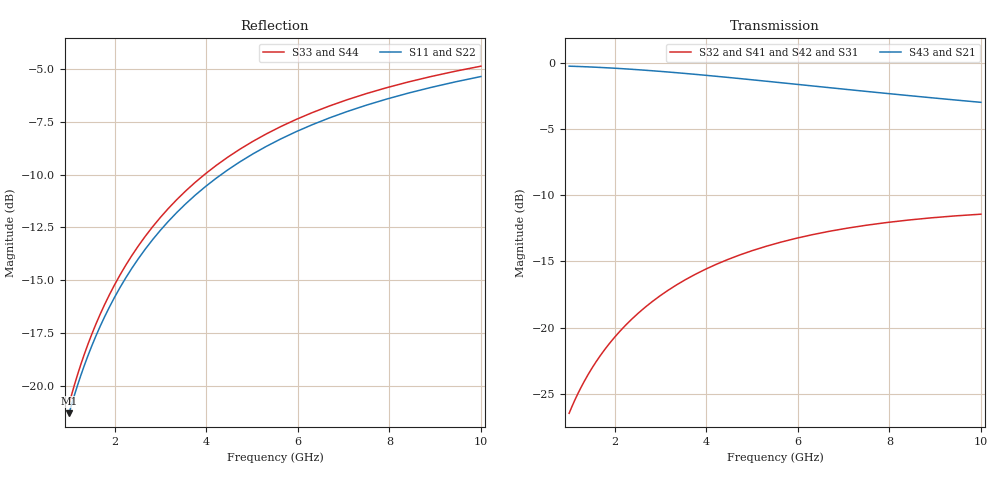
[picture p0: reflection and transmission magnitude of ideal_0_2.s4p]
! Synthetic ideal circuit; generated by generate_synthetic.py
# Hz S RI R 50
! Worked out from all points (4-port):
!   41 points, 1 GHz to 10 GHz, reference 50 ohm
!   strongest paths, dB at 1 GHz, 1.778 GHz, 3.162 GHz, 5.623 GHz, 10 GHz:
!     S43: -0.2, -0.3, -0.7, -1.5, -3.0
!     S21: -0.3, -0.4, -0.7, -1.4, -2.7
!     S32: -26.5, -21.7, -17.2, -13.5, -11.4
!     S41: -26.5, -21.7, -17.2, -13.5, -11.4
!     S42: -26.5, -21.7, -17.2, -13.5, -11.4
!     S31: -26.5, -21.7, -17.2, -13.5, -11.4
!   lowest |S11| = -21.3 dB at 1 GHz (marker M1), VSWR 1.19, Z = 53 + j8.38 ohm
!   |S11| at or under -10 dB: start of sweep to 4.323 GHz
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1e9  0.0353 0.0785  0.9647 -0.086  0.00836 0.0466  -0.00836 -0.0466
     0.9647 -0.086  0.0353 0.0785  -0.00836 -0.0466  0.00836 0.0466
     0.00836 0.0466  -0.00836 -0.0466  0.0301 0.0855  0.9698 -0.093
     -0.00836 -0.0466  0.00836 0.0466  0.9698 -0.093  0.0301 0.0855
1.496236e9  0.0464 0.1154  0.9535 -0.1267  0.0183 0.0676  -0.0183 -0.0676
            0.9535 -0.1267  0.0464 0.1154  -0.0183 -0.0676  0.0183 0.0676
            0.0183 0.0676  -0.0183 -0.0676  0.0427 0.1255  0.9572 -0.1368
            -0.0183 -0.0676  0.0183 0.0676  0.9572 -0.1368  0.0427 0.1255
2.113489e9  0.0654 0.1579  0.9344 -0.1739  0.035 0.0904  -0.035 -0.0904
            0.9344 -0.1739  0.0654 0.1579  -0.035 -0.0904  0.035 0.0904
            0.035 0.0904  -0.035 -0.0904  0.0641 0.1715  0.9357 -0.1874
            -0.035 -0.0904  0.035 0.0904  0.9357 -0.1874  0.0641 0.1715
2.985383e9  0.0997 0.2104  0.9 -0.2329  0.0646 0.1148  -0.0646 -0.1148
            0.9 -0.2329  0.0997 0.2104  -0.0646 -0.1148  0.0646 0.1148
            0.0646 0.1148  -0.0646 -0.1148  0.1027 0.2277  0.897 -0.2502
            -0.0646 -0.1148  0.0646 0.1148  0.897 -0.2502  0.1027 0.2277
3.981072e9  0.1455 0.2582  0.8541 -0.2882  0.1025 0.1308  -0.1025 -0.1308
            0.8541 -0.2882  0.1455 0.2582  -0.1025 -0.1308  0.1025 0.1308
            0.1025 0.1308  -0.1025 -0.1308  0.154 0.278  0.8456 -0.308
            -0.1025 -0.1308  0.1025 0.1308  0.8456 -0.308  0.154 0.278
6.309573e9  0.2577 0.3253  0.7412 -0.3728  0.1859 0.1256  -0.1859 -0.1256
            0.7412 -0.3728  0.2577 0.3253  -0.1859 -0.1256  0.1859 0.1256
            0.1859 0.1256  -0.1859 -0.1256  0.2783 0.3449  0.7205 -0.3925
            -0.1859 -0.1256  0.1859 0.1256  0.7205 -0.3925  0.2783 0.3449
1e10  0.407 0.3547  0.5902 -0.4299  0.2622 0.0572  -0.2622 -0.0572
      0.5902 -0.4299  0.407 0.3547  -0.2622 -0.0572  0.2622 0.0572
      0.2622 0.0572  -0.2622 -0.0572  0.4391 0.3653  0.558 -0.4406
      -0.2622 -0.0572  0.2622 0.0572  0.558 -0.4406  0.4391 0.3653
